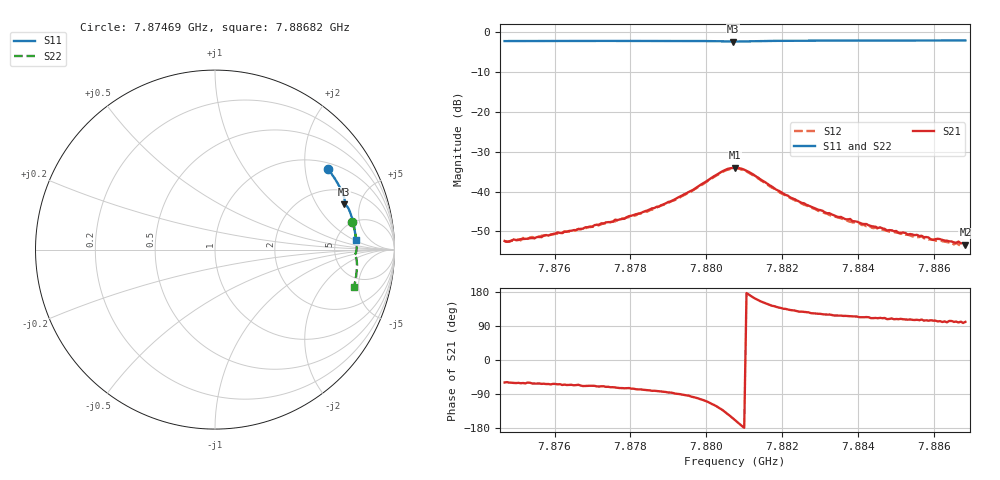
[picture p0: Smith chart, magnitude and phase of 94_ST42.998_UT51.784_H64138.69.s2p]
#  HZ  S  DB  R  50.00
! Rohde & Schwarz Vector Network Analyzer
! Rohde-Schwarz,ZNB20-2Port,1311601062101988,3.16
! Created: UTC 1/12/2023, 6:36:12 PM
! freq[Hz]  db:S11  ang:S11  db:S21  ang:S21  db:S12  ang:S12  db:S22  ang:S22
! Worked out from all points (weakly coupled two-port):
!   201 points, 7.87469 GHz to 7.88682 GHz, reference 50 ohm
!   highest |S21| = -34.03 dB at 7.88075 GHz (marker M1); lowest = -53.4 dB at 7.88682 GHz (marker M2)
!   lowest |S11| = -2.3 dB at 7.88069 GHz (marker M3), VSWR 7.45, Z = 146 + j178 ohm
!   |S11| at or under -10 dB: nowhere
!   |S22| runs from -2.2 to -1.9 dB; largest |S21 - S12| = 0.0013
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7.874686e9  -2.23 35.4  -52.39 -59.4  -52.62 -60.9  -2.15 11.4
7.875656e9  -2.22 32.7  -51.46 -63.0  -51.09 -66.0  -2.12 9.1
7.876081e9  -2.21 31.6  -50.26 -64.2  -50.52 -66.8  -2.10 8.1
7.876748e9  -2.20 29.8  -49.33 -68.8  -49.26 -71.9  -2.08 6.5
7.878022e9  -2.19 26.3  -46.07 -75.5  -46.34 -80.5  -2.06 3.5
7.87875e9  -2.18 24.2  -43.77 -82.6  -43.75 -85.7  -2.05 1.8
7.879599e9  -2.20 21.8  -39.80 -96.7  -39.95 -100.2  -2.07 -0.3
7.880448e9  -2.31 19.6  -34.78 -134.0  -34.95 -137.5  -2.18 -2.2
7.880691e9  -2.35 19.4  -34.08 -153.5  -34.19 -156.7  -2.21 -2.3
7.880751e9  -2.34 19.4  -34.03 -158.7  -34.21 -161.9  -2.21 -2.3
7.881115e9  -2.30 19.0  -35.08 172.5  -35.27 168.9  -2.17 -2.4
7.881964e9  -2.17 16.8  -40.15 137.1  -40.42 133.6  -2.03 -4.3
7.882813e9  -2.14 14.4  -44.05 123.2  -44.21 120.1  -1.98 -6.3
7.883663e9  -2.11 12.1  -46.95 116.5  -47.05 112.7  -1.96 -8.2
7.883784e9  -2.12 11.8  -46.88 115.5  -47.57 111.5  -1.96 -8.5
7.883845e9  -2.12 11.6  -47.42 115.3  -47.74 110.7  -1.95 -8.6
7.884815e9  -2.10 9.1  -49.68 108.3  -50.06 105.8  -1.94 -10.8
7.885543e9  -2.09 7.2  -50.86 106.2  -51.46 102.6  -1.93 -12.4
7.885664e9  -2.09 6.8  -51.09 106.9  -51.23 102.0  -1.92 -12.6
7.885967e9  -2.08 6.1  -52.14 103.8  -52.09 100.5  -1.93 -13.4
7.886635e9  -2.08 4.3  -52.56 99.1  -53.29 97.2  -1.92 -14.8
7.886817e9  -2.08 3.8  -53.36 100.6  -53.71 99.7  -1.92 -15.1
